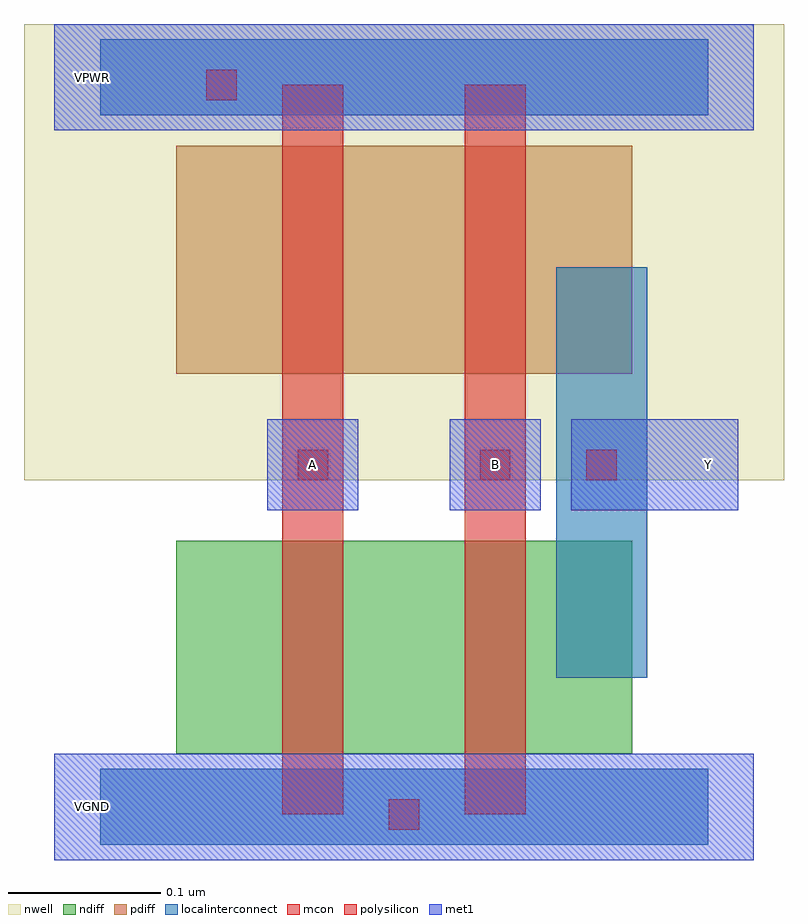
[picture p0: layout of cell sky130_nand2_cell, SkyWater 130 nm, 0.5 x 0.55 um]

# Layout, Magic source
magic
tech sky130A
magscale 1 2
<< nwell >>
rect -10 48 90 108
<< pdiff >>
rect 10 62 70 92
<< ndiff >>
rect 10 12 70 40
<< polysilicon >>
rect 24 4 32 100
rect 48 4 56 100
<< localinterconnect >>
rect 0 96 80 106
rect 0 0 80 10
rect 60 22 72 76
<< met1 >>
rect -6 94 86 108
rect -6 -2 86 12
rect 22 44 34 56
rect 46 44 58 56
rect 62 44 84 56
<< mcon >>
rect 26 48 30 52
rect 50 48 54 52
rect 64 48 68 52
rect 14 98 18 102
rect 38 2 42 6
<< labels >>
rlabel met1 -6 94 4 108 1 VPWR
rlabel met1 -6 -2 4 12 1 VGND
rlabel met1 22 44 34 56 1 A
rlabel met1 46 44 58 56 1 B
rlabel met1 76 44 84 56 3 Y
<< end >>
